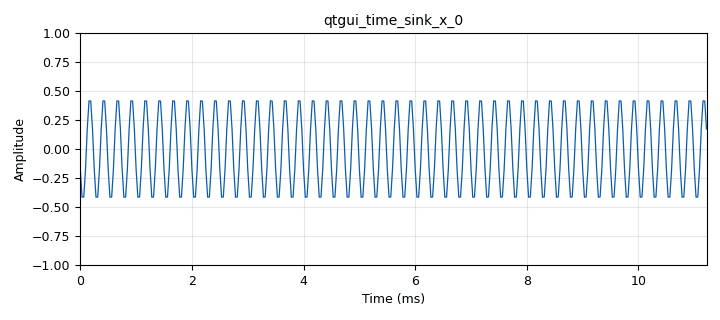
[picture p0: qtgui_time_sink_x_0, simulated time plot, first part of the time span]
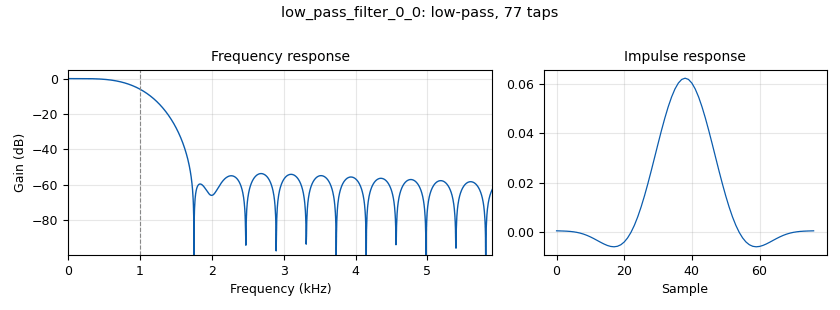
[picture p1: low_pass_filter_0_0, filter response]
options:
  parameters:
    generate_options: qt_gui
    id: dsbsc_coherent
    output_language: python
    title: Not titled yet
  states: {}

blocks:
- name: fc
  id: variable_qtgui_range
  parameters:
    start: '100'
    step: '100'
    stop: '2000'
    value: '2000'
  states: {}
- name: fm
  id: variable_qtgui_range
  parameters:
    start: '50'
    step: '100'
    stop: '1000'
    value: '1000'
  states: {}
- name: mi
  id: variable_qtgui_range
  parameters:
    start: '1'
    step: '2'
    stop: '20'
    value: '20'
  states: {}
- name: samp_rate
  id: variable
  parameters:
    value: '32000'
  states: {}
- name: analog_sig_source_x_0
  id: analog_sig_source_x
  parameters:
    amp: '1'
    freq: fm
    offset: '0'
    phase: '0'
    samp_rate: samp_rate
    type: float
    waveform: analog.GR_COS_WAVE
  states: {}
- name: analog_sig_source_x_0_0
  id: analog_sig_source_x
  parameters:
    amp: '1'
    freq: fm
    offset: '0'
    phase: '0'
    samp_rate: samp_rate
    type: float
    waveform: analog.GR_COS_WAVE
  states: {}
- name: analog_sig_source_x_1
  id: analog_sig_source_x
  parameters:
    amp: '1'
    freq: fc
    offset: '0'
    phase: '0'
    samp_rate: samp_rate
    type: float
    waveform: analog.GR_COS_WAVE
  states: {}
- name: analog_sig_source_x_1_0
  id: analog_sig_source_x
  parameters:
    amp: '1'
    freq: fc
    offset: '0'
    phase: '0'
    samp_rate: samp_rate
    type: float
    waveform: analog.GR_COS_WAVE
  states: {}
- name: analog_sig_source_x_1_0_0
  id: analog_sig_source_x
  parameters:
    amp: '1'
    freq: fc
    offset: '0'
    phase: '90'
    samp_rate: samp_rate
    type: float
    waveform: analog.GR_COS_WAVE
  states: {}
- name: audio_sink_0
  id: audio_sink
  parameters:
    samp_rate: '24000'
  states: {}
- name: blocks_add_const_vxx_0
  id: blocks_add_const_vxx
  parameters:
    const: '1'
    type: float
  states: {}
- name: blocks_add_const_vxx_0_0
  id: blocks_add_const_vxx
  parameters:
    const: '1'
    type: float
  states: {}
- name: blocks_add_xx_1
  id: blocks_add_xx
  parameters:
    type: float
  states: {}
- name: blocks_multiply_const_vxx_0
  id: blocks_multiply_const_vxx
  parameters:
    const: mi
    type: float
  states: {}
- name: blocks_multiply_const_vxx_0_0
  id: blocks_multiply_const_vxx
  parameters:
    const: '-mi'
    type: float
  states: {}
- name: blocks_multiply_const_vxx_0_0_0
  id: blocks_multiply_const_vxx
  parameters:
    const: '-1'
    type: float
  states: {}
- name: blocks_multiply_const_vxx_1
  id: blocks_multiply_const_vxx
  parameters:
    const: '0.1'
    type: float
  states: {}
- name: blocks_multiply_xx_0
  id: blocks_multiply_xx
  parameters:
    type: float
  states: {}
- name: blocks_multiply_xx_0_0
  id: blocks_multiply_xx
  parameters:
    type: float
  states: {}
- name: blocks_multiply_xx_1
  id: blocks_multiply_xx
  parameters:
    type: float
  states: {}
- name: blocks_throttle2_0
  id: blocks_throttle2
  parameters:
    samples_per_second: samp_rate
    type: float
  states: {}
- name: blocks_throttle2_0_0
  id: blocks_throttle2
  parameters:
    samples_per_second: samp_rate
    type: float
  states: {}
- name: blocks_throttle2_0_0_0
  id: blocks_throttle2
  parameters:
    samples_per_second: samp_rate
    type: float
  states: {}
- name: low_pass_filter_0_0
  id: low_pass_filter
  parameters:
    cutoff_freq: '1000'
    decim: '4'
    gain: '1'
    samp_rate: samp_rate
    type: fir_filter_fff
    width: '1000'
    win: window.WIN_HAMMING
  states: {}
- name: qtgui_time_sink_x_0
  id: qtgui_time_sink_x
  parameters:
    size: '1024'
    srate: samp_rate
    type: float
  states: {}

connections:
- [analog_sig_source_x_0, '0', blocks_multiply_const_vxx_0, '0']
- [analog_sig_source_x_0_0, '0', blocks_multiply_const_vxx_0_0, '0']
- [analog_sig_source_x_1, '0', blocks_multiply_xx_0, '1']
- [analog_sig_source_x_1_0, '0', blocks_multiply_xx_0_0, '1']
- [analog_sig_source_x_1_0_0, '0', blocks_multiply_xx_1, '1']
- [blocks_add_const_vxx_0, '0', blocks_multiply_xx_0, '0']
- [blocks_add_const_vxx_0_0, '0', blocks_multiply_xx_0_0, '0']
- [blocks_add_xx_1, '0', blocks_throttle2_0_0_0, '0']
- [blocks_multiply_const_vxx_0, '0', blocks_add_const_vxx_0, '0']
- [blocks_multiply_const_vxx_0_0, '0', blocks_add_const_vxx_0_0, '0']
- [blocks_multiply_const_vxx_0_0_0, '0', blocks_add_xx_1, '1']
- [blocks_multiply_const_vxx_1, '0', audio_sink_0, '0']
- [blocks_multiply_const_vxx_1, '0', qtgui_time_sink_x_0, '0']
- [blocks_multiply_xx_0, '0', blocks_throttle2_0, '0']
- [blocks_multiply_xx_0_0, '0', blocks_throttle2_0_0, '0']
- [blocks_multiply_xx_1, '0', low_pass_filter_0_0, '0']
- [blocks_throttle2_0, '0', blocks_add_xx_1, '0']
- [blocks_throttle2_0_0, '0', blocks_multiply_const_vxx_0_0_0, '0']
- [blocks_throttle2_0_0_0, '0', blocks_multiply_xx_1, '0']
- [low_pass_filter_0_0, '0', blocks_multiply_const_vxx_1, '0']

metadata:
  file_format: 1
  grc_version: 3.10.9.2
